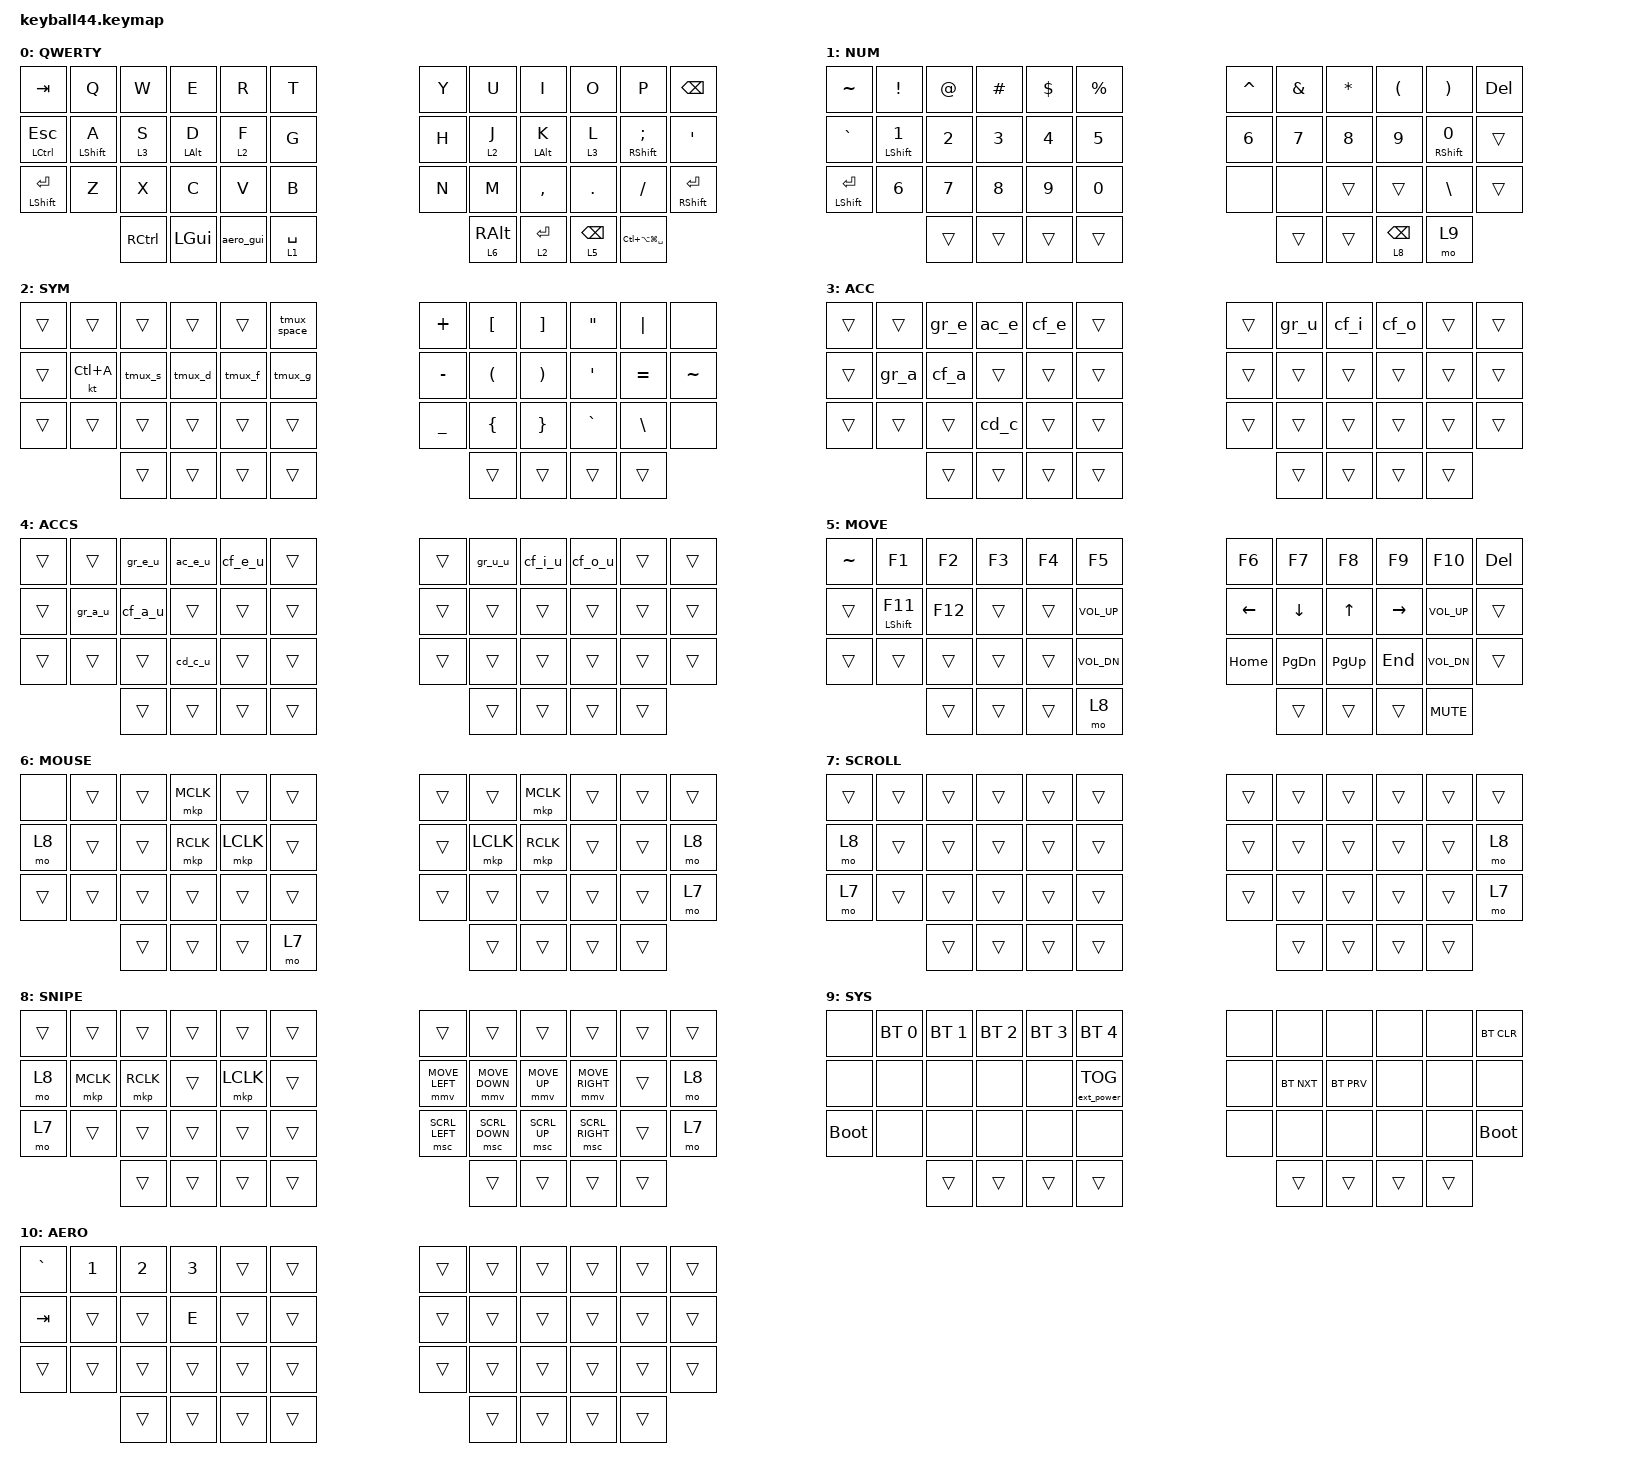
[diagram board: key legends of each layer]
// Layer indices (for reference - must use numeric values in bindings)
// 0: DEFAULT - QWERTY base layer
// 1: NUM     - Numbers and shifted symbols
// 2: SYM     - Programming symbols and tmux
// 3: ACC     - Lowercase accents (é, è, à, etc.)
// 4: ACCS    - Uppercase accents (É, È, À, etc.)
// 5: MOVE    - Navigation and F-keys
// 6: MOUSE   - Mouse buttons (automouse layer)
// 7: SCROLL  - Trackball scroll mode
// 8: SNIPE   - Trackball snipe mode
// 9: SYS     - Bluetooth and system
// 10: AERO   - Aerospace window management

#include <behaviors/mouse_keys.dtsi>
#include <dt-bindings/zmk/mouse.h>

#define ZMK_POINTING_DEFAULT_MOVE_VAL 2400

#include <behaviors.dtsi>
#include <dt-bindings/zmk/bt.h>
#include <dt-bindings/zmk/ext_power.h>
#include <dt-bindings/zmk/keys.h>
#include <dt-bindings/zmk/pointing.h>

// Mouse key acceleration settings
&mmv {
    time-to-max-speed-ms = <400>;
    acceleration-exponent = <1>;
};

&msc {
    time-to-max-speed-ms = <400>;
    acceleration-exponent = <1>;
};

&lt {
    tapping-term-ms = <200>;
    flavor = "balanced";
    quick-tap-ms = <150>;
};

&mt {
    tapping-term-ms = <200>;
    flavor = "balanced";
    quick-tap-ms = <150>;
};

&caps_word { continue-list = <UNDER MINUS>; };

/ {
    combos {
        compatible = "zmk,combos";

        // A + S for uppercase accents (left hand)
        combo_accs_left {
            timeout-ms = <50>;
            key-positions = <13 14>;
            bindings = <&mo 4>;
            require-prior-idle-ms = <250>;
        };

        // ; + L for uppercase accents (right hand)
        combo_accs_right {
            timeout-ms = <50>;
            key-positions = <21 22>;
            bindings = <&mo 4>;
            require-prior-idle-ms = <250>;
        };
    };

    // custom shift using mod-morph 

    behaviors {
        cmqus: comma_question {
            compatible = "zmk,behavior-mod-morph";
            label = "COMMA_QUESTION";
            #binding-cells = <0>;
            bindings = <&kp COMMA>, <&kp QUESTION>;

            mods = <(MOD_LSFT|MOD_RSFT)>;
        };

        dtsmi: dot_semi {
            compatible = "zmk,behavior-mod-morph";
            label = "DOT_SEMI";
            #binding-cells = <0>;
            bindings = <&kp DOT>, <&kp SEMI>;

            mods = <(MOD_LSFT|MOD_RSFT)>;
        };
    };

    macros {
        // Aerospace layer + CMD macro (hold CMD while layer 10 is active)
        aero_gui: aero_gui {
            compatible = "zmk,behavior-macro";
            #binding-cells = <0>;
            bindings =
                <&macro_press &kp LGUI>,
                <&macro_tap &tog 10>,
                <&macro_pause_for_release>,
                <&macro_tap &tog 10>,
                <&macro_release &kp LGUI>;
            label = "AERO_GUI";
        };

        // Tmux macros
        tmux_s: tmux_s {
            compatible = "zmk,behavior-macro";
            #binding-cells = <0>;
            bindings = <&kp LC(A) &kp S>;
            label = "TMUX_S";
        };

        tmux_d: tmux_d {
            compatible = "zmk,behavior-macro";
            #binding-cells = <0>;
            bindings = <&kp LC(A) &kp D>;
            label = "TMUX_D";
        };

        tmux_f: tmux_f {
            compatible = "zmk,behavior-macro";
            #binding-cells = <0>;
            bindings = <&kp LC(A) &kp F>;
            label = "TMUX_F";
        };

        tmux_g: tmux_g {
            compatible = "zmk,behavior-macro";
            #binding-cells = <0>;
            bindings = <&kp LC(A) &kp G>;
            label = "TMUX_G";
        };

        tmux_space: tmux_space {
            compatible = "zmk,behavior-macro";
            #binding-cells = <0>;
            bindings = <&kp LC(A) &kp SPACE>;
            label = "TMUX_SPACE";
        };

        // Accent macros (macOS Option+deadkey sequences)
        ac_e: ac_e {  // é (acute e)
            compatible = "zmk,behavior-macro";
            #binding-cells = <0>;
            bindings = <&kp LA(E) &kp E>;
            label = "ACUTE_E";
        };

        gr_e: gr_e {  // è (grave e)
            compatible = "zmk,behavior-macro";
            #binding-cells = <0>;
            bindings = <&kp LA(GRAVE) &kp E>;
            label = "GRAVE_E";
        };

        gr_a: gr_a {  // à (grave a)
            compatible = "zmk,behavior-macro";
            #binding-cells = <0>;
            bindings = <&kp LA(GRAVE) &kp A>;
            label = "GRAVE_A";
        };

        gr_u: gr_u {  // ù (grave u)
            compatible = "zmk,behavior-macro";
            #binding-cells = <0>;
            bindings = <&kp LA(GRAVE) &kp U>;
            label = "GRAVE_U";
        };

        cf_e: cf_e {  // ê (circumflex e)
            compatible = "zmk,behavior-macro";
            #binding-cells = <0>;
            bindings = <&kp LA(I) &kp E>;
            label = "CIRCUMFLEX_E";
        };

        cf_a: cf_a {  // â (circumflex a)
            compatible = "zmk,behavior-macro";
            #binding-cells = <0>;
            bindings = <&kp LA(I) &kp A>;
            label = "CIRCUMFLEX_A";
        };

        cf_o: cf_o {  // ô (circumflex o)
            compatible = "zmk,behavior-macro";
            #binding-cells = <0>;
            bindings = <&kp LA(I) &kp O>;
            label = "CIRCUMFLEX_O";
        };

        cf_i: cf_i {  // î (circumflex i)
            compatible = "zmk,behavior-macro";
            #binding-cells = <0>;
            bindings = <&kp LA(I) &kp I>;
            label = "CIRCUMFLEX_I";
        };

        cd_c: cd_c {  // ç (cedilla c)
            compatible = "zmk,behavior-macro";
            #binding-cells = <0>;
            bindings = <&kp LA(C)>;
            label = "CEDILLA_C";
        };

        // Uppercase accent macros (node names must differ from lowercase)
        ac_e_u: ac_e_u {  // É (acute E)
            compatible = "zmk,behavior-macro";
            #binding-cells = <0>;
            bindings = <&kp LA(E) &kp LS(E)>;
            label = "ACUTE_E_UPPER";
        };

        gr_e_u: gr_e_u {  // È (grave E)
            compatible = "zmk,behavior-macro";
            #binding-cells = <0>;
            bindings = <&kp LA(GRAVE) &kp LS(E)>;
            label = "GRAVE_E_UPPER";
        };

        gr_a_u: gr_a_u {  // À (grave A)
            compatible = "zmk,behavior-macro";
            #binding-cells = <0>;
            bindings = <&kp LA(GRAVE) &kp LS(A)>;
            label = "GRAVE_A_UPPER";
        };

        gr_u_u: gr_u_u {  // Ù (grave U)
            compatible = "zmk,behavior-macro";
            #binding-cells = <0>;
            bindings = <&kp LA(GRAVE) &kp LS(U)>;
            label = "GRAVE_U_UPPER";
        };

        cf_e_u: cf_e_u {  // Ê (circumflex E)
            compatible = "zmk,behavior-macro";
            #binding-cells = <0>;
            bindings = <&kp LA(I) &kp LS(E)>;
            label = "CIRCUMFLEX_E_UPPER";
        };

        cf_a_u: cf_a_u {  // Â (circumflex A)
            compatible = "zmk,behavior-macro";
            #binding-cells = <0>;
            bindings = <&kp LA(I) &kp LS(A)>;
            label = "CIRCUMFLEX_A_UPPER";
        };

        cf_o_u: cf_o_u {  // Ô (circumflex O)
            compatible = "zmk,behavior-macro";
            #binding-cells = <0>;
            bindings = <&kp LA(I) &kp LS(O)>;
            label = "CIRCUMFLEX_O_UPPER";
        };

        cf_i_u: cf_i_u {  // Î (circumflex I)
            compatible = "zmk,behavior-macro";
            #binding-cells = <0>;
            bindings = <&kp LA(I) &kp LS(I)>;
            label = "CIRCUMFLEX_I_UPPER";
        };

        cd_c_u: cd_c_u {  // Ç (cedilla C)
            compatible = "zmk,behavior-macro";
            #binding-cells = <0>;
            bindings = <&kp LS(LA(C))>;
            label = "CEDILLA_C_UPPER";
        };
    };

    keymap {
        compatible = "zmk,keymap";

        // Layer 0: DEFAULT - QWERTY base layer
        default_layer {
            label = "QWERTY";
            bindings = <
&kp TAB           &kp Q        &kp W      &kp E         &kp R       &kp T                                         &kp Y       &kp U    &kp I       &kp O    &kp P                  &kp BSPC
&mt LCTRL ESCAPE  &mt LSHFT A  &lt 3 S    &mt LALT D    &lt 2 F     &kp G                                         &kp H       &lt 2 J  &mt LALT K  &lt 3 L  &mt RSHFT SEMI         &kp SQT
&mt LSHFT ENTER   &kp Z        &kp X      &kp C         &kp V       &kp B                                         &kp N       &kp M    &kp COMMA   &kp DOT  &kp SLASH              &mt RSHFT ENTER
                               &kp RCTRL  &kp LEFT_GUI  &aero_gui  &lt 1 SPACE  &lt 6 RALT          &lt 2 ENTER  &lt 5 BSPC                                &kp LC(LA(LG(SPACE)))
            >;
        };

        // Layer 1: NUM - Numbers and shifted symbols
        number_layer {
            label = "NUM";
            bindings = <
&kp TILDE        &kp EXCL      &kp AT_SIGN  &kp HASH  &kp DOLLAR  &kp PERCENT                          &kp CARET   &kp AMPS   &kp ASTRK  &kp LPAR  &kp RPAR      &kp DELETE
&kp GRAVE        &mt LSHFT N1  &kp N2       &kp N3    &kp N4      &kp N5                               &kp N6      &kp N7     &kp N8     &kp N9    &mt RSHFT N0  &trans
&mt LSHFT ENTER  &kp N6        &kp N7       &kp N8    &kp N9      &kp N0                               &none       &none      &trans     &trans    &kp BSLH      &trans
                               &trans       &trans    &trans      &trans       &trans          &trans  &lt 8 BSPC                                  &mo 9
            >;
        };

        // Layer 2: SYM - Programming symbols and tmux
        symbol_layer {
            label = "SYM";
            bindings = <
&trans  &trans     &trans   &trans   &trans   &tmux_space                          &kp PLUS   &kp LBKT  &kp RBKT  &kp DQT    &kp PIPE   &none
&trans  &kt LC(A)  &tmux_s  &tmux_d  &tmux_f  &tmux_g                              &kp MINUS  &kp LPAR  &kp RPAR  &kp SQT    &kp EQUAL  &kp TILDE
&trans  &trans     &trans   &trans   &trans   &trans                               &kp UNDER  &kp LBRC  &kp RBRC  &kp GRAVE  &kp BSLH   &none
                   &trans   &trans   &trans   &trans       &trans          &trans  &trans                                    &trans
            >;
        };

        // Layer 3: ACC - Lowercase accents (é, è, à, etc.)
        accent_layer {
            label = "ACC";
            bindings = <
&trans  &trans  &gr_e   &ac_e   &cf_e   &trans                          &trans  &gr_u   &cf_i   &cf_o   &trans  &trans
&trans  &gr_a   &cf_a   &trans  &trans  &trans                          &trans  &trans  &trans  &trans  &trans  &trans
&trans  &trans  &trans  &cd_c   &trans  &trans                          &trans  &trans  &trans  &trans  &trans  &trans
                &trans  &trans  &trans  &trans  &trans          &trans  &trans                          &trans
            >;
        };

        // Layer 4: ACCS - Uppercase accents (É, È, À, etc.)
        accent_shifted_layer {
            label = "ACCS";
            bindings = <
&trans  &trans   &gr_e_u  &ac_e_u  &cf_e_u  &trans                          &trans  &gr_u_u  &cf_i_u  &cf_o_u  &trans  &trans
&trans  &gr_a_u  &cf_a_u  &trans   &trans   &trans                          &trans  &trans   &trans   &trans   &trans  &trans
&trans  &trans   &trans   &cd_c_u  &trans   &trans                          &trans  &trans   &trans   &trans   &trans  &trans
                 &trans   &trans   &trans   &trans  &trans          &trans  &trans                             &trans
            >;
        };

        // Layer 5: MOVE - Navigation and F-keys
        movement_layer {
            label = "MOVE";
            bindings = <
&kp TILDE  &kp F1         &kp F2   &kp F3  &kp F4      &kp F5                                &kp F6    &kp F7     &kp F8     &kp F9     &kp F10       &kp DELETE
&trans     &mt LSHFT F11  &kp F12  &trans  &trans      &kp C_VOL_UP                          &kp LEFT  &kp DOWN   &kp UP     &kp RIGHT  &kp C_VOL_UP  &trans
&trans     &trans         &trans   &trans  &trans      &kp C_VOL_DN                          &kp HOME  &kp PG_DN  &kp PG_UP  &kp END    &kp C_VOL_DN  &trans
                          &trans   &trans  &trans      &mo 8         &trans          &trans  &trans                                     &kp K_MUTE
            >;
        };

        // Layer 6: MOUSE - Mouse buttons (automouse layer)
        mouse_layer {
            label = "MOUSE";
            bindings = <
&none   &trans  &trans  &mkp MCLK  &trans     &trans                          &trans  &trans     &mkp MCLK  &trans  &trans  &trans
&mo 8   &trans  &trans  &mkp RCLK  &mkp LCLK  &trans                          &trans  &mkp LCLK  &mkp RCLK  &trans  &trans  &mo 8
&trans  &trans  &trans  &trans     &trans     &trans                          &trans  &trans     &trans     &trans  &trans  &mo 7
                &trans  &trans     &trans     &mo 7   &trans          &trans  &trans                                &trans
            >;
        };

        // Layer 7: SCROLL - Trackball scroll mode
        scroll_layer {
            label = "SCROLL";
            bindings = <
&trans  &trans  &trans  &trans  &trans  &trans                          &trans  &trans  &trans  &trans  &trans  &trans
&mo 8   &trans  &trans  &trans  &trans  &trans                          &trans  &trans  &trans  &trans  &trans  &mo 8
&mo 7   &trans  &trans  &trans  &trans  &trans                          &trans  &trans  &trans  &trans  &trans  &mo 7
                &trans  &trans  &trans  &trans  &trans          &trans  &trans                          &trans
            >;
        };

        // Layer 8: SNIPE - Trackball snipe mode
        snipe_layer {
            label = "SNIPE";
            bindings = <
&trans  &trans     &trans     &trans  &trans     &trans                          &trans          &trans          &trans        &trans           &trans  &trans
&mo 8   &mkp MCLK  &mkp RCLK  &trans  &mkp LCLK  &trans                          &mmv MOVE_LEFT  &mmv MOVE_DOWN  &mmv MOVE_UP  &mmv MOVE_RIGHT  &trans  &mo 8
&mo 7   &trans     &trans     &trans  &trans     &trans                          &msc SCRL_LEFT  &msc SCRL_DOWN  &msc SCRL_UP  &msc SCRL_RIGHT  &trans  &mo 7
                   &trans     &trans  &trans     &trans  &trans          &trans  &trans                                                         &trans
            >;
        };

        // Layer 9: SYS - Bluetooth and system
        system_layer {
            label = "SYS";
            bindings = <
&none        &bt BT_SEL 0  &bt BT_SEL 1  &bt BT_SEL 2  &bt BT_SEL 3  &bt BT_SEL 4                               &none   &none       &none       &none  &none  &bt BT_CLR
&none        &none         &none         &none         &none         &ext_power EP_TOG                          &none   &bt BT_NXT  &bt BT_PRV  &none  &none  &none
&bootloader  &none         &none         &none         &none         &none                                      &none   &none       &none       &none  &none  &bootloader
                           &trans        &trans        &trans        &trans             &trans          &trans  &trans                                 &trans
            >;
        };

        // Layer 10: AERO - Window management (CMD held by aero_gui macro)
        spaces_layer {
            label = "AERO";
            bindings = <
&kp GRAVE  &kp N1  &kp N2  &kp N3  &trans  &trans                          &trans  &trans  &trans  &trans  &trans  &trans
&kp TAB    &trans  &trans  &kp E   &trans  &trans                          &trans  &trans  &trans  &trans  &trans  &trans
&trans     &trans  &trans  &trans  &trans  &trans                          &trans  &trans  &trans  &trans  &trans  &trans
                   &trans  &trans  &trans  &trans  &trans          &trans  &trans                          &trans
            >;
        };
    };
};
